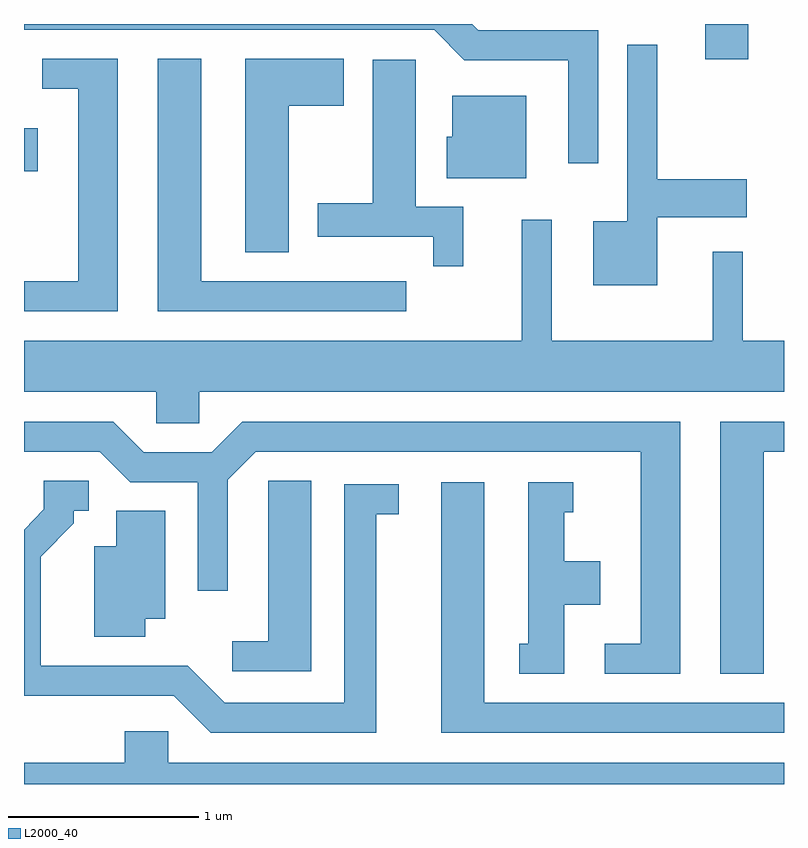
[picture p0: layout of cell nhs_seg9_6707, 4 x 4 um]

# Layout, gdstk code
import gdstk
lib = gdstk.Library(unit=1e-6, precision=1e-09)
def R(c, l, rs):  # rectangles x0, y0, x1, y1
    for r in rs: c.add(gdstk.rectangle(r[:2], r[2:], *l))
def P(c, l, *ps):  # polygons
    for p in ps: c.add(gdstk.Polygon(p, *l))
L2000_40 = (2000, 40)

nhs_seg9_6707 = lib.new_cell('nhs_seg9_6707')
R(nhs_seg9_6707, L2000_40, [(383.611,1979.656,383.684,1979.884), (387.196,1980.246,387.424,1980.432)])
P(nhs_seg9_6707, L2000_40, [(386.634,1980.399),(386.002,1980.399),(385.969,1980.432),(383.611,1980.432),(383.611,1980.401),(385.769,1980.401),(385.929,1980.241),(386.476,1980.241),(386.476,1979.698),(386.634,1979.698)],
  [(386.944,1979.416),(387.414,1979.416),(387.414,1979.614),(386.944,1979.614),(386.944,1980.323),(386.786,1980.323),(386.786,1979.394),(386.606,1979.394),(386.606,1979.056),(386.944,1979.056)],
  [(385.623,1979.079),(384.544,1979.079),(384.544,1980.249),(384.316,1980.249),(384.316,1978.921),(385.623,1978.921)],
  [(384.104,1980.249),(383.708,1980.249),(383.708,1980.091),(383.896,1980.091),(383.896,1979.079),(383.611,1979.079),(383.611,1978.921),(384.104,1978.921)],
  [(385.004,1980.001),(385.294,1980.001),(385.294,1980.249),(384.776,1980.249),(384.776,1979.231),(385.004,1979.231)],
  [(385.924,1979.469),(385.674,1979.469),(385.674,1980.244),(385.446,1980.244),(385.446,1979.489),(385.156,1979.489),(385.156,1979.311),(385.766,1979.311),(385.766,1979.158),(385.924,1979.158)],
  [(386.254,1980.054),(385.866,1980.054),(385.866,1979.839),(385.836,1979.839),(385.836,1979.621),(386.254,1979.621)],
  [(387.236,1979.233),(387.236,1978.764),(386.389,1978.764),(386.389,1979.403),(386.231,1979.403),(386.231,1978.764),(383.611,1978.764),(383.611,1978.496),(384.306,1978.496),(384.306,1978.331),(384.534,1978.331),(384.534,1978.496),(387.611,1978.496),(387.611,1978.764),(387.394,1978.764),(387.394,1979.233)],
  [(387.504,1978.181),(387.611,1978.181),(387.611,1978.339),(387.276,1978.339),(387.276,1977.011),(387.504,1977.011)],
  [(387.064,1978.339),(384.759,1978.339),(384.599,1978.179),(384.242,1978.179),(384.082,1978.339),(383.611,1978.339),(383.611,1978.181),(384.009,1978.181),(384.169,1978.021),(384.526,1978.021),(384.526,1977.448),(384.684,1977.448),(384.684,1978.034),(384.832,1978.181),(386.856,1978.181),(386.856,1977.169),(386.668,1977.169),(386.668,1977.011),(387.064,1977.011)],
  [(385.124,1978.029),(384.896,1978.029),(384.896,1977.184),(384.708,1977.184),(384.708,1977.026),(385.124,1977.026)],
  [(385.464,1977.851),(385.583,1977.851),(385.583,1978.009),(385.296,1978.009),(385.296,1976.859),(384.667,1976.859),(384.472,1977.054),(383.699,1977.054),(383.699,1977.629),(383.874,1977.804),(383.874,1977.871),(383.953,1977.871),(383.953,1978.029),(383.716,1978.029),(383.716,1977.877),(383.611,1977.771),(383.611,1976.896),(384.399,1976.896),(384.594,1976.701),(385.464,1976.701)],
  [(386.454,1977.376),(386.644,1977.376),(386.644,1977.604),(386.454,1977.604),(386.454,1977.861),(386.503,1977.861),(386.503,1978.019),(386.266,1978.019),(386.266,1977.169),(386.218,1977.169),(386.218,1977.011),(386.454,1977.011)],
  [(387.611,1976.859),(386.034,1976.859),(386.034,1978.019),(385.806,1978.019),(385.806,1976.701),(387.611,1976.701)],
  [(384.249,1977.301),(384.354,1977.301),(384.354,1977.869),(384.096,1977.869),(384.096,1977.684),(383.981,1977.684),(383.981,1977.206),(384.249,1977.206)],
  [(387.611,1976.544),(384.369,1976.544),(384.369,1976.709),(384.141,1976.709),(384.141,1976.544),(383.611,1976.544),(383.611,1976.432),(387.611,1976.432)])

lib.write_gds('nhs_seg9_6707.gds')
